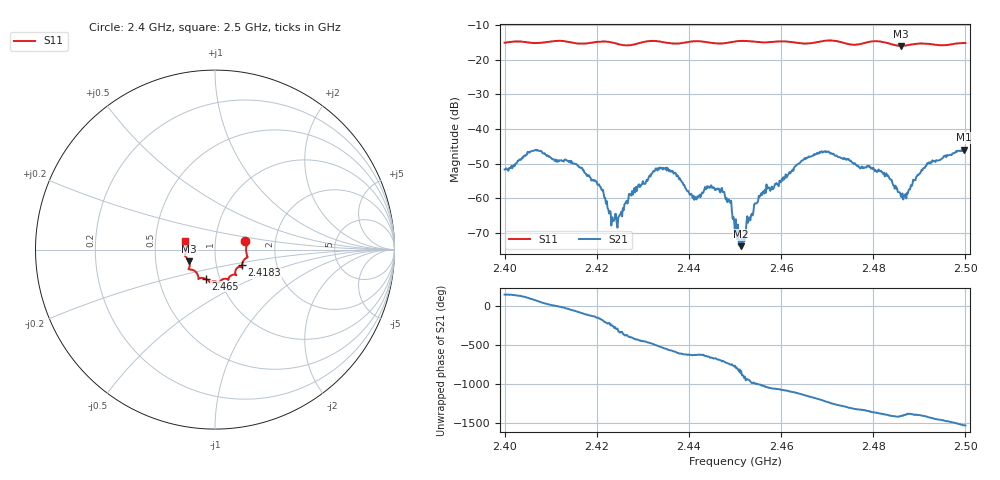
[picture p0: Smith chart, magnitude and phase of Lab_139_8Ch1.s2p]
# Hz S RI R 50
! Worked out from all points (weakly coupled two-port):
!   601 points, 2.4 GHz to 2.5 GHz, reference 50 ohm
!   highest |S21| = -45.93 dB at 2.4997 GHz (marker M1); lowest = -73.8 dB at 2.4513 GHz (marker M2)
!   lowest |S11| = -16.0 dB at 2.486 GHz (marker M3), VSWR 1.37, Z = 37.1 - j4.97 ohm
!   |S11| at or under -10 dB: start of sweep to end of sweep
!   S12 and S22 are empty: the file has one direction only
!   S11 on the Smith chart (normalised r, x): 2.4 GHz: 1.40, +0.13; 2.4183 GHz: 1.33, -0.24; 2.465 GHz: 0.86, -0.29; 2.5 GHz: 0.71, +0.07
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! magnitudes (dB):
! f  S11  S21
! 2.4 GHz  -15.1  -51.7
! 2.4068 GHz  -15.2  -46.0
! 2.4167 GHz  -15.4  -51.2
! 2.4183 GHz  -15.2  -53.4
! 2.4208 GHz  -14.8  -56.7
! 2.424 GHz  -15.3  -64.5
! 2.4333 GHz  -14.7  -51.3
! 2.4367 GHz  -15.4  -52.9
! 2.4412 GHz  -14.7  -60.4
! 2.4472 GHz  -15.3  -57.0
! 2.4488 GHz  -15.0  -60.8
! 2.45 GHz  -14.8  -70.2
! 2.4513 GHz  -14.6  -73.8
! 2.4557 GHz  -15.0  -58.6
! 2.465 GHz  -15.4  -48.6
! 2.4667 GHz  -15.3  -47.8
! 2.47 GHz  -14.5  -46.5
! 2.4833 GHz  -15.3  -53.7
! 2.486 GHz  -16.0  -59.4
! 2.492 GHz  -15.5  -49.7
! 2.4997 GHz  -15.2  -45.9
! 2.5 GHz  -15.2  -46.2
